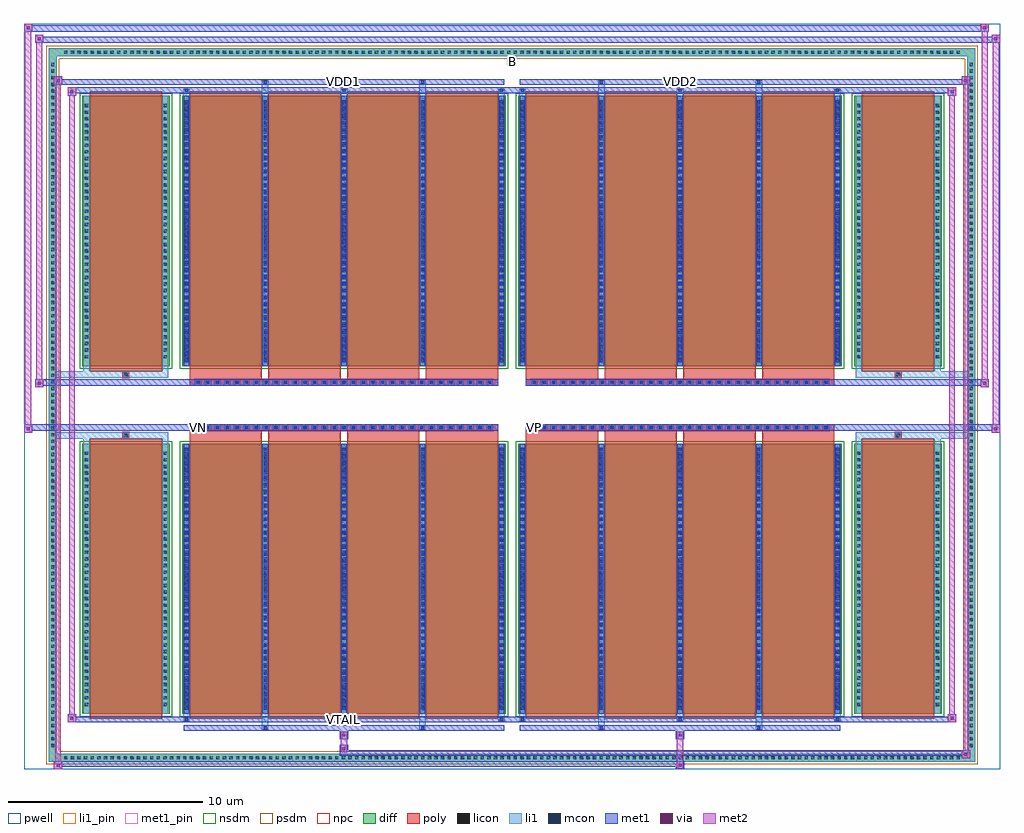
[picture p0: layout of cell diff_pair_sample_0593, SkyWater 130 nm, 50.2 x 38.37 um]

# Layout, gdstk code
import gdstk
lib = gdstk.Library(unit=1e-6, precision=5e-09)
def R(c, l, rs):  # rectangles x0, y0, x1, y1
    for r in rs: c.add(gdstk.rectangle(r[:2], r[2:], *l))
def A(c, l, x, y, w, h, nx, ny, dx, dy):  # array of equal rectangles
    R(c, l, [(x+i*dx, y+j*dy, x+i*dx+w, y+j*dy+h) for i in range(nx) for j in range(ny)])
def P(c, l, *ps):  # polygons
    for p in ps: c.add(gdstk.Polygon(p, *l))
pwell = (64, 44)
diff = (65, 20)
poly = (66, 20)
licon = (66, 44)
li1_pin = (67, 16)
li1 = (67, 20)
mcon = (67, 44)
met1_pin = (68, 16)
met1 = (68, 20)
via = (68, 44)
met2 = (69, 20)
nsdm = (93, 44)
psdm = (94, 20)
npc = (95, 20)

diff_pair_sample_0593 = lib.new_cell('diff_pair_sample_0593')
R(diff_pair_sample_0593, pwell, [(-25.1,-18.75,25.1,19.62), (-22.42,-16.94,-0.01,-0.8), (0.01,-16.94,22.42,-0.8), (-22.42,0.8,-0.01,16.94), (0.01,0.8,22.42,16.94)])
A(diff_pair_sample_0593, diff, -23.155, -18.35, 0.41, 0.41, 136, 2, 0.34, 36.29)
A(diff_pair_sample_0593, diff, -23.83, -17.715, 0.41, 0.41, 1, 104, 0, 0.34)
A(diff_pair_sample_0593, diff, 23.42, -17.715, 0.41, 0.41, 1, 104, 0, 0.34)
R(diff_pair_sample_0593, diff, [(-23.155,-18.35,23.155,-17.94), (-23.83,-17.715,-23.42,17.715), (23.42,-17.715,23.83,17.715), (-22.11,-15.895,-17.61,-1.985), (-16.97,-15.895,-0.32,-1.985), (0.32,-15.895,16.97,-1.985), (17.61,-15.895,22.11,-1.985), (-22.11,1.985,-17.61,15.895), (-16.97,1.985,-0.32,15.895), (0.32,1.985,16.97,15.895), (17.61,1.985,22.11,15.895), (-23.155,17.94,23.155,18.35)])
P(diff_pair_sample_0593, diff, [(23.83,18.35),(-23.83,18.35),(-23.83,-17.94),(-23.42,-17.94),(-23.42,17.94),(23.42,17.94),(23.42,-17.94),(-23.42,-17.94),(-23.83,-17.94),(-23.83,-18.35),(23.83,-18.35)])
A(diff_pair_sample_0593, poly, -16.58, -16.145, 3.72, 14.41, 4, 2, 4.05, 17.88)
A(diff_pair_sample_0593, poly, 0.71, -16.145, 3.72, 14.41, 4, 2, 4.05, 17.88)
A(diff_pair_sample_0593, poly, -16.58, -1.735, 3.72, 0.405, 4, 2, 4.05, 3.065)
A(diff_pair_sample_0593, poly, 0.71, -1.735, 3.72, 0.405, 4, 2, 4.05, 3.065)
A(diff_pair_sample_0593, poly, -16.31, -1.33, 0.33, 0.33, 31, 2, 0.5, 2.33)
A(diff_pair_sample_0593, poly, 0.98, -1.33, 0.33, 0.33, 31, 2, 0.5, 2.33)
R(diff_pair_sample_0593, poly, [(-21.72,-16.145,-18,-1.735), (18,-16.145,21.72,-1.735), (-20.025,-1.735,-19.695,-1.405), (-20.025,-1.735,-19.695,-1.405), (19.695,-1.735,20.025,-1.405), (19.695,-1.735,20.025,-1.405), (-16.58,-1.33,-0.71,-1), (0.71,-1.33,16.58,-1), (-16.58,1,-0.71,1.33), (0.71,1,16.58,1.33), (-20.025,1.405,-19.695,1.735), (-20.025,1.405,-19.695,1.735), (19.695,1.405,20.025,1.735), (19.695,1.405,20.025,1.735), (-21.72,1.735,-18,16.145), (18,1.735,21.72,16.145)])
A(diff_pair_sample_0593, licon, -23.035, -18.23, 0.17, 0.17, 136, 2, 0.34, 36.29)
A(diff_pair_sample_0593, licon, -23.71, -17.595, 0.17, 0.17, 1, 104, 0, 0.34)
A(diff_pair_sample_0593, licon, 23.54, -17.595, 0.17, 0.17, 1, 104, 0, 0.34)
A(diff_pair_sample_0593, licon, -21.97, -15.485, 0.17, 0.17, 1, 39, 0, 0.34)
A(diff_pair_sample_0593, licon, -17.92, -15.485, 0.17, 0.17, 1, 39, 0, 0.34)
A(diff_pair_sample_0593, licon, -16.83, -15.485, 0.17, 0.17, 5, 39, 4.05, 0.34)
A(diff_pair_sample_0593, licon, 0.46, -15.485, 0.17, 0.17, 5, 39, 4.05, 0.34)
A(diff_pair_sample_0593, licon, 17.75, -15.485, 0.17, 0.17, 1, 39, 0, 0.34)
A(diff_pair_sample_0593, licon, 21.8, -15.485, 0.17, 0.17, 1, 39, 0, 0.34)
A(diff_pair_sample_0593, licon, -16.23, -1.25, 0.17, 0.17, 31, 2, 0.5, 2.33)
A(diff_pair_sample_0593, licon, 1.06, -1.25, 0.17, 0.17, 31, 2, 0.5, 2.33)
A(diff_pair_sample_0593, licon, -21.97, 2.395, 0.17, 0.17, 1, 39, 0, 0.34)
A(diff_pair_sample_0593, licon, -17.92, 2.395, 0.17, 0.17, 1, 39, 0, 0.34)
A(diff_pair_sample_0593, licon, -16.83, 2.395, 0.17, 0.17, 5, 39, 4.05, 0.34)
A(diff_pair_sample_0593, licon, 0.46, 2.395, 0.17, 0.17, 5, 39, 4.05, 0.34)
A(diff_pair_sample_0593, licon, 17.75, 2.395, 0.17, 0.17, 1, 39, 0, 0.34)
A(diff_pair_sample_0593, licon, 21.8, 2.395, 0.17, 0.17, 1, 39, 0, 0.34)
R(diff_pair_sample_0593, licon, [(-19.945,-1.655,-19.775,-1.485), (19.775,-1.655,19.945,-1.485), (-19.945,1.485,-19.775,1.655), (19.775,1.485,19.945,1.655)])
R(diff_pair_sample_0593, li1_pin, [(-0.25,17.44,0.25,17.94)])
A(diff_pair_sample_0593, li1, -23.115, -18.31, 0.33, 0.33, 136, 2, 0.34, 36.29)
A(diff_pair_sample_0593, li1, -23.79, -17.675, 0.33, 0.33, 1, 104, 0, 0.34)
A(diff_pair_sample_0593, li1, 23.46, -17.675, 0.33, 0.33, 1, 104, 0, 0.34)
A(diff_pair_sample_0593, li1, -16.91, -16.27, 0.33, 0.375, 3, 2, 8.1, 32.165)
A(diff_pair_sample_0593, li1, -16.83, -16.27, 0.17, 0.17, 3, 2, 8.1, 32.37)
A(diff_pair_sample_0593, li1, 0.38, -16.27, 0.33, 0.375, 3, 2, 8.1, 32.165)
A(diff_pair_sample_0593, li1, 0.46, -16.27, 0.17, 0.17, 3, 2, 8.1, 32.37)
A(diff_pair_sample_0593, li1, -16.91, -15.895, 0.33, 13.91, 5, 2, 4.05, 17.88)
A(diff_pair_sample_0593, li1, 0.38, -15.895, 0.33, 13.91, 5, 2, 4.05, 17.88)
A(diff_pair_sample_0593, li1, -16.83, -15.685, 0.17, 0.17, 5, 38, 4.05, 0.36)
A(diff_pair_sample_0593, li1, -16.83, -15.685, 0.17, 13.49, 5, 2, 4.05, 17.88)
A(diff_pair_sample_0593, li1, 0.46, -15.685, 0.17, 0.17, 5, 38, 4.05, 0.36)
A(diff_pair_sample_0593, li1, 0.46, -15.685, 0.17, 13.49, 5, 2, 4.05, 17.88)
A(diff_pair_sample_0593, li1, -22.05, -15.565, 0.33, 0.33, 1, 39, 0, 0.34)
A(diff_pair_sample_0593, li1, -18, -15.565, 0.33, 0.33, 1, 39, 0, 0.34)
A(diff_pair_sample_0593, li1, -16.91, -15.565, 0.33, 0.33, 5, 39, 4.05, 0.34)
A(diff_pair_sample_0593, li1, 0.38, -15.565, 0.33, 0.33, 5, 39, 4.05, 0.34)
A(diff_pair_sample_0593, li1, 17.67, -15.565, 0.33, 0.33, 1, 39, 0, 0.34)
A(diff_pair_sample_0593, li1, 21.72, -15.565, 0.33, 0.33, 1, 39, 0, 0.34)
A(diff_pair_sample_0593, li1, -16.31, -1.33, 0.33, 0.33, 31, 2, 0.5, 2.33)
A(diff_pair_sample_0593, li1, 0.98, -1.33, 0.33, 0.33, 31, 2, 0.5, 2.33)
A(diff_pair_sample_0593, li1, -16.83, 2.195, 0.17, 0.17, 5, 38, 4.05, 0.36)
A(diff_pair_sample_0593, li1, 0.46, 2.195, 0.17, 0.17, 5, 38, 4.05, 0.36)
A(diff_pair_sample_0593, li1, -22.05, 2.315, 0.33, 0.33, 1, 39, 0, 0.34)
A(diff_pair_sample_0593, li1, -18, 2.315, 0.33, 0.33, 1, 39, 0, 0.34)
A(diff_pair_sample_0593, li1, -16.91, 2.315, 0.33, 0.33, 5, 39, 4.05, 0.34)
A(diff_pair_sample_0593, li1, 0.38, 2.315, 0.33, 0.33, 5, 39, 4.05, 0.34)
A(diff_pair_sample_0593, li1, 17.67, 2.315, 0.33, 0.33, 1, 39, 0, 0.34)
A(diff_pair_sample_0593, li1, 21.72, 2.315, 0.33, 0.33, 1, 39, 0, 0.34)
R(diff_pair_sample_0593, li1, [(-23.83,-18.35,-23.42,-17.94), (-23.83,-18.35,-23.42,-17.94), (-23.42,-18.35,23.42,-17.94), (23.42,-18.35,23.83,-17.94), (23.42,-18.35,23.83,-17.94), (-23.83,-17.94,-23.42,17.94), (23.42,-17.94,23.83,17.94), (-12.86,-16.7,-12.53,-15.895), (-12.78,-16.7,-12.61,-16.53), (-4.76,-16.7,-4.43,-15.895), (-4.68,-16.7,-4.51,-16.53), (4.43,-16.7,4.76,-15.895), (4.51,-16.7,4.68,-16.53), (12.53,-16.7,12.86,-15.895), (12.61,-16.7,12.78,-16.53), (-22.05,-15.895,-21.72,-1.985), (-18,-15.895,-17.67,-1.985), (17.67,-15.895,18,-1.985), (21.72,-15.895,22.05,-1.985), (-22.05,-1.985,-21.72,-1.405), (-18,-1.985,-17.67,-1.405), (17.67,-1.985,18,-1.405), (21.72,-1.985,22.05,-1.405), (-23.83,-1.735,-20.025,-1.405), (-22.05,-1.735,-20.025,-1.405), (-20.025,-1.735,-19.695,-1.405), (-19.695,-1.735,-17.67,-1.405), (17.67,-1.735,19.695,-1.405), (19.695,-1.735,20.025,-1.405), (19.695,-1.735,23.83,-1.405), (20.025,-1.735,22.05,-1.405), (-23.83,1.405,-20.025,1.735), (-22.05,1.405,-20.025,1.735), (-22.05,1.405,-21.72,1.985), (-20.025,1.405,-19.695,1.735), (-19.695,1.405,-17.67,1.735), (-18,1.405,-17.67,1.985), (17.67,1.405,19.695,1.735), (17.67,1.405,18,1.985), (19.695,1.405,20.025,1.735), (19.695,1.405,23.83,1.735), (20.025,1.405,22.05,1.735), (21.72,1.405,22.05,1.985), (-22.05,1.985,-21.72,15.895), (-18,1.985,-17.67,15.895), (17.67,1.985,18,15.895), (21.72,1.985,22.05,15.895), (-12.86,15.895,-12.53,16.7), (-4.76,15.895,-4.43,16.7), (4.43,15.895,4.76,16.7), (12.53,15.895,12.86,16.7), (-12.78,16.53,-12.61,16.7), (-4.68,16.53,-4.51,16.7), (4.51,16.53,4.68,16.7), (12.61,16.53,12.78,16.7), (-23.83,17.94,-23.42,18.35), (-23.83,17.94,-23.42,18.35), (-23.42,17.94,23.42,18.35), (23.42,17.94,23.83,18.35), (23.42,17.94,23.83,18.35)])
A(diff_pair_sample_0593, mcon, -16.83, -16.27, 0.17, 0.17, 3, 2, 8.1, 32.37)
A(diff_pair_sample_0593, mcon, 0.46, -16.27, 0.17, 0.17, 3, 2, 8.1, 32.37)
A(diff_pair_sample_0593, mcon, -16.83, -15.685, 0.17, 0.17, 5, 38, 4.05, 0.36)
A(diff_pair_sample_0593, mcon, 0.46, -15.685, 0.17, 0.17, 5, 38, 4.05, 0.36)
A(diff_pair_sample_0593, mcon, -16.23, -1.25, 0.17, 0.17, 31, 2, 0.5, 2.33)
A(diff_pair_sample_0593, mcon, 1.06, -1.25, 0.17, 0.17, 31, 2, 0.5, 2.33)
A(diff_pair_sample_0593, mcon, -16.83, 2.195, 0.17, 0.17, 5, 38, 4.05, 0.36)
A(diff_pair_sample_0593, mcon, 0.46, 2.195, 0.17, 0.17, 5, 38, 4.05, 0.36)
R(diff_pair_sample_0593, mcon, [(-12.78,-16.7,-12.61,-16.53), (-4.68,-16.7,-4.51,-16.53), (4.51,-16.7,4.68,-16.53), (12.61,-16.7,12.78,-16.53), (-12.78,16.53,-12.61,16.7), (-4.68,16.53,-4.51,16.7), (4.51,16.53,4.68,16.7), (12.61,16.53,12.78,16.7)])
R(diff_pair_sample_0593, met1_pin, [(-8.78,-16.31,-8.51,-16.04), (-16.28,-1.29,-16.01,-1.02), (1.01,-1.29,1.28,-1.02), (-8.78,16.49,-8.51,16.76), (8.51,16.49,8.78,16.76)])
A(diff_pair_sample_0593, met1, -16.89, -16.33, 0.29, 0.29, 3, 2, 8.1, 32.37)
A(diff_pair_sample_0593, met1, 0.4, -16.33, 0.29, 0.29, 3, 2, 8.1, 32.37)
A(diff_pair_sample_0593, met1, -16.89, -15.895, 0.29, 13.91, 5, 2, 4.05, 17.88)
A(diff_pair_sample_0593, met1, 0.4, -15.895, 0.29, 13.91, 5, 2, 4.05, 17.88)
A(diff_pair_sample_0593, met1, -16.89, -15.745, 0.29, 0.29, 5, 38, 4.05, 0.36)
A(diff_pair_sample_0593, met1, 0.4, -15.745, 0.29, 0.29, 5, 38, 4.05, 0.36)
A(diff_pair_sample_0593, met1, -16.29, -1.31, 0.29, 0.29, 31, 2, 0.5, 2.33)
A(diff_pair_sample_0593, met1, 1, -1.31, 0.29, 0.29, 31, 2, 0.5, 2.33)
A(diff_pair_sample_0593, met1, -16.89, 2.135, 0.29, 0.29, 5, 38, 4.05, 0.36)
A(diff_pair_sample_0593, met1, 0.4, 2.135, 0.29, 0.29, 5, 38, 4.05, 0.36)
R(diff_pair_sample_0593, met1, [(-23.56,-18.75,-23.13,-18.32), (8.43,-18.75,8.86,-18.32), (-23.56,-18.61,8.86,-18.32), (23.13,-18.18,23.56,-17.75), (-8.86,-18.04,23.56,-17.75), (-8.86,-17.9,-8.43,-17.47), (-8.86,-17.19,-8.43,-16.76), (8.43,-17.19,8.86,-16.76), (-16.89,-16.76,-0.4,-16.47), (-12.84,-16.76,-12.55,-16.47), (-4.74,-16.76,-4.45,-16.47), (0.4,-16.76,16.89,-16.47), (4.45,-16.76,4.74,-16.47), (12.55,-16.76,12.84,-16.47), (-22.85,-16.33,-22.42,-15.9), (-22.85,-16.33,-16.89,-16.04), (-16.89,-16.33,-0.4,-16.04), (-0.4,-16.33,0.4,-16.04), (0.4,-16.33,16.89,-16.04), (16.89,-16.33,22.85,-16.04), (22.42,-16.33,22.85,-15.9), (-25.1,-1.43,-24.67,-1), (24.67,-1.43,25.1,-1), (-25.1,-1.33,-0.71,-1), (-16.58,-1.33,-0.71,-1), (0.71,-1.33,16.58,-1), (0.71,-1.33,25.1,-1), (-24.53,0.9,-24.1,1.33), (24.1,0.9,24.53,1.33), (-24.53,1,-16.58,1.33), (-16.58,1,-0.71,1.33), (0.71,1,16.58,1.33), (16.58,1,24.53,1.33), (-22.85,15.9,-22.42,16.33), (22.42,15.9,22.85,16.33), (-22.85,16.04,-16.89,16.33), (-16.89,16.04,-0.4,16.33), (-0.4,16.04,0.4,16.33), (0.4,16.04,16.89,16.33), (16.89,16.04,22.85,16.33), (-23.56,16.47,-23.13,16.9), (-23.56,16.47,-16.89,16.76), (-16.89,16.47,-0.4,16.76), (-12.84,16.47,-12.55,16.76), (-4.74,16.47,-4.45,16.76), (0.4,16.47,16.89,16.76), (4.45,16.47,4.74,16.76), (12.55,16.47,12.84,16.76), (16.89,16.47,23.56,16.76), (23.13,16.47,23.56,16.9), (-24.53,18.62,-24.1,19.05), (-24.53,18.62,-22.42,18.95), (-22.42,18.62,22.42,18.95), (22.42,18.62,25.1,18.95), (24.67,18.62,25.1,19.05), (-25.1,19.19,-24.67,19.62), (-25.1,19.19,-22.42,19.52), (-22.42,19.19,22.42,19.52), (22.42,19.19,24.53,19.52), (24.1,19.19,24.53,19.62)])
R(diff_pair_sample_0593, via, [(-23.42,-18.61,-23.27,-18.46), (8.57,-18.61,8.72,-18.46), (23.27,-18.04,23.42,-17.89), (-8.72,-17.76,-8.57,-17.61), (-8.72,-17.05,-8.57,-16.9), (8.57,-17.05,8.72,-16.9), (-22.71,-16.19,-22.56,-16.04), (22.56,-16.19,22.71,-16.04), (-24.96,-1.29,-24.81,-1.14), (24.81,-1.29,24.96,-1.14), (-24.39,1.04,-24.24,1.19), (24.24,1.04,24.39,1.19), (-22.71,16.04,-22.56,16.19), (22.56,16.04,22.71,16.19), (-23.42,16.61,-23.27,16.76), (23.27,16.61,23.42,16.76), (-24.39,18.76,-24.24,18.91), (24.81,18.76,24.96,18.91), (-24.96,19.33,-24.81,19.48), (24.24,19.33,24.39,19.48)])
R(diff_pair_sample_0593, met2, [(-23.56,-18.75,-23.13,-18.32), (-23.49,-18.75,-23.2,16.9), (-23.2,-18.75,-23.13,-18.32), (-23.51,-18.7,-23.18,-18.37), (8.48,-18.7,8.81,-18.37), (8.48,-18.37,8.81,-17.14), (23.13,-18.18,23.56,-17.75), (23.2,-18.18,23.49,16.9), (23.49,-18.18,23.56,-17.75), (23.18,-18.13,23.51,-17.8), (-8.81,-17.85,-8.48,-17.52), (-8.81,-17.52,-8.48,-17.14), (-8.81,-17.14,-8.48,-16.81), (8.48,-17.14,8.81,-16.81), (-22.85,-16.33,-22.42,-15.9), (-22.78,-16.33,-22.49,16.33), (-22.49,-16.33,-22.42,-15.9), (22.42,-16.33,22.85,-15.9), (22.49,-16.33,22.78,16.33), (22.78,-16.33,22.85,-15.9), (-22.8,-16.28,-22.47,-15.95), (22.47,-16.28,22.8,-15.95), (-25.1,-1.43,-24.67,-1), (-25.05,-1.43,-24.72,19.62), (-24.72,-1.43,-24.67,-1), (24.67,-1.43,25.1,-1), (24.72,-1.43,25.05,19.05), (25.05,-1.43,25.1,-1), (-25.05,-1.38,-24.72,-1.05), (24.72,-1.38,25.05,-1.05), (-24.53,0.9,-24.1,1.33), (-24.48,0.9,-24.15,19.05), (-24.15,0.9,-24.1,1.33), (24.1,0.9,24.53,1.33), (24.15,0.9,24.48,19.62), (24.48,0.9,24.53,1.33), (-24.48,0.95,-24.15,1.28), (24.15,0.95,24.48,1.28), (-22.85,15.9,-22.42,16.33), (-22.49,15.9,-22.42,16.33), (22.42,15.9,22.85,16.33), (22.78,15.9,22.85,16.33), (-22.8,15.95,-22.47,16.28), (22.47,15.95,22.8,16.28), (-23.56,16.47,-23.13,16.9), (-23.2,16.47,-23.13,16.9), (23.13,16.47,23.56,16.9), (23.49,16.47,23.56,16.9), (-23.51,16.52,-23.18,16.85), (23.18,16.52,23.51,16.85), (-24.53,18.62,-24.1,19.05), (-24.15,18.62,-24.1,19.05), (24.67,18.62,25.1,19.05), (25.05,18.62,25.1,19.05), (-24.48,18.67,-24.15,19), (24.72,18.67,25.05,19), (-25.1,19.19,-24.67,19.62), (-24.72,19.19,-24.67,19.62), (24.1,19.19,24.53,19.62), (24.48,19.19,24.53,19.62), (-25.05,19.24,-24.72,19.57), (24.15,19.24,24.48,19.57)])
R(diff_pair_sample_0593, nsdm, [(-22.24,-16.025,-17.48,-1.855), (-17.1,-16.025,-0.19,-1.855), (0.19,-16.025,17.1,-1.855), (17.48,-16.025,22.24,-1.855), (-22.24,1.855,-17.48,16.025), (-17.1,1.855,-0.19,16.025), (0.19,1.855,17.1,16.025), (17.48,1.855,22.24,16.025)])
P(diff_pair_sample_0593, psdm, [(23.96,18.48),(-23.96,18.48),(-23.96,-17.81),(-23.29,-17.81),(-23.29,17.81),(23.29,17.81),(23.29,-17.81),(-23.29,-17.81),(-23.96,-17.81),(-23.96,-18.48),(23.96,-18.48)])
A(diff_pair_sample_0593, npc, -16.33, -1.35, 0.37, 0.37, 31, 2, 0.5, 2.33)
A(diff_pair_sample_0593, npc, 0.96, -1.35, 0.37, 0.37, 31, 2, 0.5, 2.33)
R(diff_pair_sample_0593, npc, [(-20.045,-1.755,-19.675,-1.385), (19.675,-1.755,20.045,-1.385), (-16.33,-1.35,-15.46,-0.98), (-16.33,-1.35,-15.46,-0.98), (-15.83,-1.35,-14.96,-0.98), (-15.83,-1.35,-14.96,-0.98), (-15.33,-1.35,-14.46,-0.98), (-15.33,-1.35,-14.46,-0.98), (-14.83,-1.35,-13.96,-0.98), (-14.83,-1.35,-13.96,-0.98), (-14.33,-1.35,-13.46,-0.98), (-14.33,-1.35,-13.46,-0.98), (-13.83,-1.35,-12.96,-0.98), (-13.83,-1.35,-12.96,-0.98), (-13.33,-1.35,-12.46,-0.98), (-13.33,-1.35,-12.46,-0.98), (-12.83,-1.35,-11.96,-0.98), (-12.83,-1.35,-11.96,-0.98), (-12.33,-1.35,-11.46,-0.98), (-12.33,-1.35,-11.46,-0.98), (-11.83,-1.35,-10.96,-0.98), (-11.83,-1.35,-10.96,-0.98), (-11.33,-1.35,-10.46,-0.98), (-11.33,-1.35,-10.46,-0.98), (-10.83,-1.35,-9.96,-0.98), (-10.83,-1.35,-9.96,-0.98), (-10.33,-1.35,-9.46,-0.98), (-10.33,-1.35,-9.46,-0.98), (-9.83,-1.35,-8.96,-0.98), (-9.83,-1.35,-8.96,-0.98), (-9.33,-1.35,-8.46,-0.98), (-9.33,-1.35,-8.46,-0.98), (-8.83,-1.35,-7.96,-0.98), (-8.83,-1.35,-7.96,-0.98), (-8.33,-1.35,-7.46,-0.98), (-8.33,-1.35,-7.46,-0.98), (-7.83,-1.35,-6.96,-0.98), (-7.83,-1.35,-6.96,-0.98), (-7.33,-1.35,-6.46,-0.98), (-7.33,-1.35,-6.46,-0.98), (-6.83,-1.35,-5.96,-0.98), (-6.83,-1.35,-5.96,-0.98), (-6.33,-1.35,-5.46,-0.98), (-6.33,-1.35,-5.46,-0.98), (-5.83,-1.35,-4.96,-0.98), (-5.83,-1.35,-4.96,-0.98), (-5.33,-1.35,-4.46,-0.98), (-5.33,-1.35,-4.46,-0.98), (-4.83,-1.35,-3.96,-0.98), (-4.83,-1.35,-3.96,-0.98), (-4.33,-1.35,-3.46,-0.98), (-4.33,-1.35,-3.46,-0.98), (-3.83,-1.35,-2.96,-0.98), (-3.83,-1.35,-2.96,-0.98), (-3.33,-1.35,-2.46,-0.98), (-3.33,-1.35,-2.46,-0.98), (-2.83,-1.35,-1.96,-0.98), (-2.83,-1.35,-1.96,-0.98), (-2.33,-1.35,-1.46,-0.98), (-2.33,-1.35,-1.46,-0.98), (-1.83,-1.35,-0.96,-0.98), (-1.83,-1.35,-0.96,-0.98), (0.96,-1.35,1.83,-0.98), (0.96,-1.35,1.83,-0.98), (1.46,-1.35,2.33,-0.98), (1.46,-1.35,2.33,-0.98), (1.96,-1.35,2.83,-0.98), (1.96,-1.35,2.83,-0.98), (2.46,-1.35,3.33,-0.98), (2.46,-1.35,3.33,-0.98), (2.96,-1.35,3.83,-0.98), (2.96,-1.35,3.83,-0.98), (3.46,-1.35,4.33,-0.98), (3.46,-1.35,4.33,-0.98), (3.96,-1.35,4.83,-0.98), (3.96,-1.35,4.83,-0.98), (4.46,-1.35,5.33,-0.98), (4.46,-1.35,5.33,-0.98), (4.96,-1.35,5.83,-0.98), (4.96,-1.35,5.83,-0.98), (5.46,-1.35,6.33,-0.98), (5.46,-1.35,6.33,-0.98), (5.96,-1.35,6.83,-0.98), (5.96,-1.35,6.83,-0.98), (6.46,-1.35,7.33,-0.98), (6.46,-1.35,7.33,-0.98), (6.96,-1.35,7.83,-0.98), (6.96,-1.35,7.83,-0.98), (7.46,-1.35,8.33,-0.98), (7.46,-1.35,8.33,-0.98), (7.96,-1.35,8.83,-0.98), (7.96,-1.35,8.83,-0.98), (8.46,-1.35,9.33,-0.98), (8.46,-1.35,9.33,-0.98), (8.96,-1.35,9.83,-0.98), (8.96,-1.35,9.83,-0.98), (9.46,-1.35,10.33,-0.98), (9.46,-1.35,10.33,-0.98), (9.96,-1.35,10.83,-0.98), (9.96,-1.35,10.83,-0.98), (10.46,-1.35,11.33,-0.98), (10.46,-1.35,11.33,-0.98), (10.96,-1.35,11.83,-0.98), (10.96,-1.35,11.83,-0.98), (11.46,-1.35,12.33,-0.98), (11.46,-1.35,12.33,-0.98), (11.96,-1.35,12.83,-0.98), (11.96,-1.35,12.83,-0.98), (12.46,-1.35,13.33,-0.98), (12.46,-1.35,13.33,-0.98), (12.96,-1.35,13.83,-0.98), (12.96,-1.35,13.83,-0.98), (13.46,-1.35,14.33,-0.98), (13.46,-1.35,14.33,-0.98), (13.96,-1.35,14.83,-0.98), (13.96,-1.35,14.83,-0.98), (14.46,-1.35,15.33,-0.98), (14.46,-1.35,15.33,-0.98), (14.96,-1.35,15.83,-0.98), (14.96,-1.35,15.83,-0.98), (15.46,-1.35,16.33,-0.98), (15.46,-1.35,16.33,-0.98), (-16.33,0.98,-15.46,1.35), (-16.33,0.98,-15.46,1.35), (-15.83,0.98,-14.96,1.35), (-15.83,0.98,-14.96,1.35), (-15.33,0.98,-14.46,1.35), (-15.33,0.98,-14.46,1.35), (-14.83,0.98,-13.96,1.35), (-14.83,0.98,-13.96,1.35), (-14.33,0.98,-13.46,1.35), (-14.33,0.98,-13.46,1.35), (-13.83,0.98,-12.96,1.35), (-13.83,0.98,-12.96,1.35), (-13.33,0.98,-12.46,1.35), (-13.33,0.98,-12.46,1.35), (-12.83,0.98,-11.96,1.35), (-12.83,0.98,-11.96,1.35), (-12.33,0.98,-11.46,1.35), (-12.33,0.98,-11.46,1.35), (-11.83,0.98,-10.96,1.35), (-11.83,0.98,-10.96,1.35), (-11.33,0.98,-10.46,1.35), (-11.33,0.98,-10.46,1.35), (-10.83,0.98,-9.96,1.35), (-10.83,0.98,-9.96,1.35), (-10.33,0.98,-9.46,1.35), (-10.33,0.98,-9.46,1.35), (-9.83,0.98,-8.96,1.35), (-9.83,0.98,-8.96,1.35), (-9.33,0.98,-8.46,1.35), (-9.33,0.98,-8.46,1.35), (-8.83,0.98,-7.96,1.35), (-8.83,0.98,-7.96,1.35), (-8.33,0.98,-7.46,1.35), (-8.33,0.98,-7.46,1.35), (-7.83,0.98,-6.96,1.35), (-7.83,0.98,-6.96,1.35), (-7.33,0.98,-6.46,1.35), (-7.33,0.98,-6.46,1.35), (-6.83,0.98,-5.96,1.35), (-6.83,0.98,-5.96,1.35), (-6.33,0.98,-5.46,1.35), (-6.33,0.98,-5.46,1.35), (-5.83,0.98,-4.96,1.35), (-5.83,0.98,-4.96,1.35), (-5.33,0.98,-4.46,1.35), (-5.33,0.98,-4.46,1.35), (-4.83,0.98,-3.96,1.35), (-4.83,0.98,-3.96,1.35), (-4.33,0.98,-3.46,1.35), (-4.33,0.98,-3.46,1.35), (-3.83,0.98,-2.96,1.35), (-3.83,0.98,-2.96,1.35), (-3.33,0.98,-2.46,1.35), (-3.33,0.98,-2.46,1.35), (-2.83,0.98,-1.96,1.35), (-2.83,0.98,-1.96,1.35), (-2.33,0.98,-1.46,1.35), (-2.33,0.98,-1.46,1.35), (-1.83,0.98,-0.96,1.35), (-1.83,0.98,-0.96,1.35), (0.96,0.98,1.83,1.35), (0.96,0.98,1.83,1.35), (1.46,0.98,2.33,1.35), (1.46,0.98,2.33,1.35), (1.96,0.98,2.83,1.35), (1.96,0.98,2.83,1.35), (2.46,0.98,3.33,1.35), (2.46,0.98,3.33,1.35), (2.96,0.98,3.83,1.35), (2.96,0.98,3.83,1.35), (3.46,0.98,4.33,1.35), (3.46,0.98,4.33,1.35), (3.96,0.98,4.83,1.35), (3.96,0.98,4.83,1.35), (4.46,0.98,5.33,1.35), (4.46,0.98,5.33,1.35), (4.96,0.98,5.83,1.35), (4.96,0.98,5.83,1.35), (5.46,0.98,6.33,1.35), (5.46,0.98,6.33,1.35), (5.96,0.98,6.83,1.35), (5.96,0.98,6.83,1.35), (6.46,0.98,7.33,1.35), (6.46,0.98,7.33,1.35), (6.96,0.98,7.83,1.35), (6.96,0.98,7.83,1.35), (7.46,0.98,8.33,1.35), (7.46,0.98,8.33,1.35), (7.96,0.98,8.83,1.35), (7.96,0.98,8.83,1.35), (8.46,0.98,9.33,1.35), (8.46,0.98,9.33,1.35), (8.96,0.98,9.83,1.35), (8.96,0.98,9.83,1.35), (9.46,0.98,10.33,1.35), (9.46,0.98,10.33,1.35), (9.96,0.98,10.83,1.35), (9.96,0.98,10.83,1.35), (10.46,0.98,11.33,1.35), (10.46,0.98,11.33,1.35), (10.96,0.98,11.83,1.35), (10.96,0.98,11.83,1.35), (11.46,0.98,12.33,1.35), (11.46,0.98,12.33,1.35), (11.96,0.98,12.83,1.35), (11.96,0.98,12.83,1.35), (12.46,0.98,13.33,1.35), (12.46,0.98,13.33,1.35), (12.96,0.98,13.83,1.35), (12.96,0.98,13.83,1.35), (13.46,0.98,14.33,1.35), (13.46,0.98,14.33,1.35), (13.96,0.98,14.83,1.35), (13.96,0.98,14.83,1.35), (14.46,0.98,15.33,1.35), (14.46,0.98,15.33,1.35), (14.96,0.98,15.83,1.35), (14.96,0.98,15.83,1.35), (15.46,0.98,16.33,1.35), (15.46,0.98,16.33,1.35), (-20.045,1.385,-19.675,1.755), (19.675,1.385,20.045,1.755)])
diff_pair_sample_0593.add(gdstk.Label('VTAIL', (-8.645,-16.175), layer=68, texttype=5))
diff_pair_sample_0593.add(gdstk.Label('VN', (-16.145,-1.155), layer=68, texttype=5))
diff_pair_sample_0593.add(gdstk.Label('VP', (1.145,-1.155), layer=68, texttype=5))
diff_pair_sample_0593.add(gdstk.Label('B', (0,17.69), layer=67, texttype=5))
diff_pair_sample_0593.add(gdstk.Label('VDD2', (8.645,16.625), layer=68, texttype=5))
diff_pair_sample_0593.add(gdstk.Label('VDD1', (-8.645,16.625), layer=68, texttype=5))

lib.write_gds('diff_pair_sample_0593.gds')
